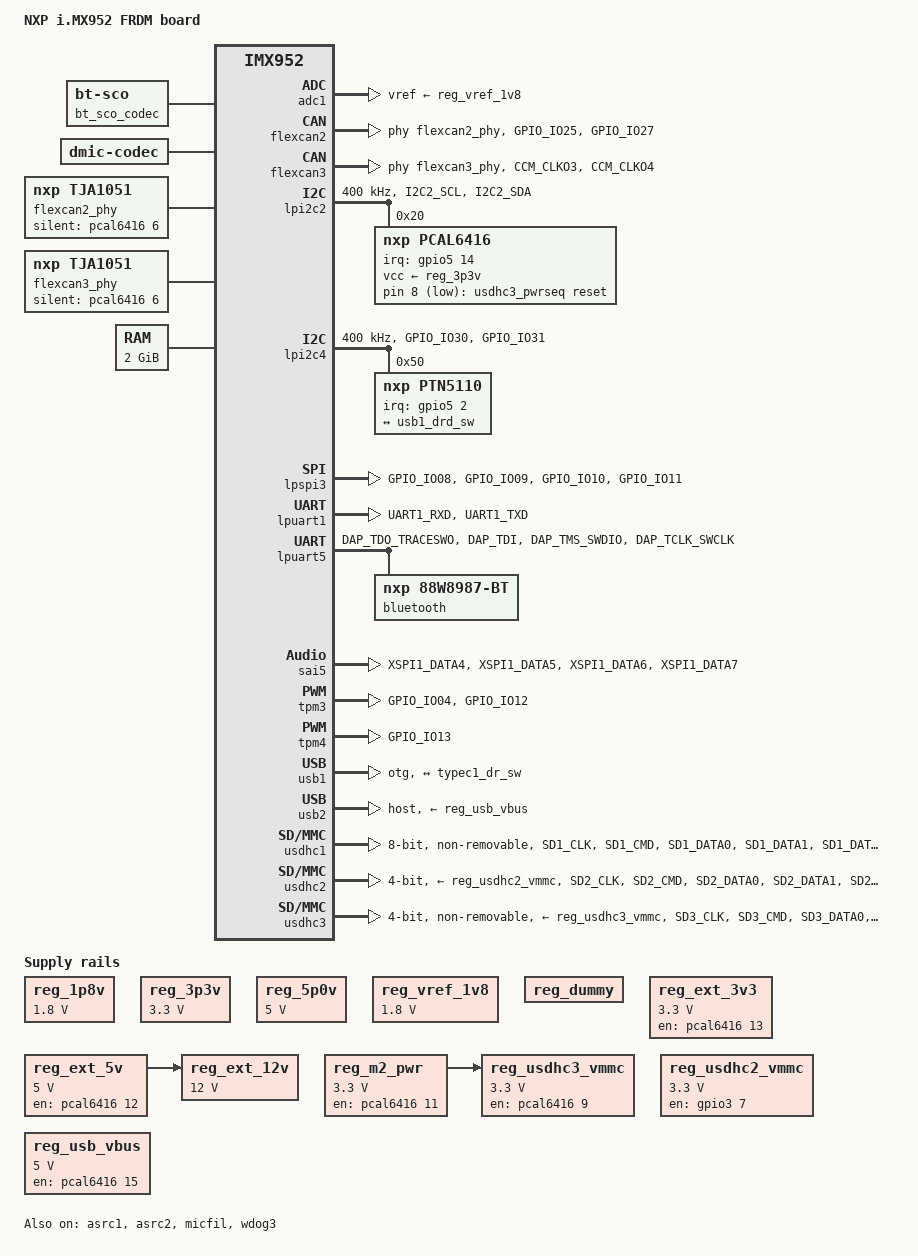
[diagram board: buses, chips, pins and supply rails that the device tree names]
// SPDX-License-Identifier: (GPL-2.0+ OR MIT)
/*
 * Copyright 2026 NXP
 */

#include <dt-bindings/usb/pd.h>

#define BRD_SM_CTRL_SD3_WAKE		0x8000U /*!< PCAL6408A-0 */
#define BRD_SM_CTRL_M2M_WAKE		0x8003U /*!< PCAL6408A-6 */
#define BRD_SM_CTRL_BUTTON		0x8004U /*!< PCAL6408A-7 */

/ {
	compatible = "fsl,imx952-frdm", "fsl,imx952";
	model = "NXP i.MX952 FRDM board";

	aliases {
		gpio0 = &gpio1;
		gpio1 = &gpio2;
		gpio2 = &gpio3;
		gpio3 = &gpio4;
		gpio4 = &gpio5;
		i2c0 = &lpi2c1;
		i2c1 = &lpi2c2;
		i2c2 = &lpi2c3;
		i2c3 = &lpi2c4;
		i2c4 = &lpi2c5;
		i2c5 = &lpi2c6;
		i2c6 = &lpi2c7;
		i2c7 = &lpi2c8;
		mmc0 = &usdhc1;
		mmc1 = &usdhc2;
		serial0 = &lpuart1;
		serial4 = &lpuart5;
		spi2 = &lpspi3;
	};

	bt_sco_codec: audio-codec-bt-sco {
		compatible = "linux,bt-sco";
		#sound-dai-cells = <1>;
	};

	chosen {
		stdout-path = &lpuart1;
	};

	dmic: dmic {
		compatible = "dmic-codec";
		#sound-dai-cells = <0>;
		num-channels = <2>;
	};

	flexcan2_phy: can-phy0 {
		compatible = "nxp,tja1051";
		#phy-cells = <0>;
		max-bitrate = <8000000>;
		silent-gpios = <&pcal6416 6 GPIO_ACTIVE_HIGH>;
	};

	flexcan3_phy: can-phy1 {
		compatible = "nxp,tja1051";
		#phy-cells = <0>;
		max-bitrate = <8000000>;
		silent-gpios = <&pcal6416 6 GPIO_ACTIVE_HIGH>;
	};

	reg_1p8v: regulator-1p8v {
		compatible = "regulator-fixed";
		regulator-name = "+V1.8_SW";
		regulator-max-microvolt = <1800000>;
		regulator-min-microvolt = <1800000>;
	};

	reg_3p3v: regulator-3p3v {
		compatible = "regulator-fixed";
		regulator-name = "+V3.3_SW";
		regulator-max-microvolt = <3300000>;
		regulator-min-microvolt = <3300000>;
	};

	reg_5p0v: regulator-5p0v {
		compatible = "regulator-fixed";
		regulator-name = "+V5.0_SW";
		regulator-max-microvolt = <5000000>;
		regulator-min-microvolt = <5000000>;
	};

	reg_vref_1v8: regulator-adc-vref {
		compatible = "regulator-fixed";
		regulator-name = "vref_1v8";
		regulator-max-microvolt = <1800000>;
		regulator-min-microvolt = <1800000>;
	};

	reg_dummy: regulator-dummy {
		compatible = "regulator-fixed";
		regulator-name = "dummy";
	};

	reg_ext_12v: regulator-ext-12v {
		compatible = "regulator-fixed";
		regulator-name = "VCCEXT_12V";
		regulator-max-microvolt = <12000000>;
		regulator-min-microvolt = <12000000>;
		vin-supply = <&reg_ext_5v>;
	};

	reg_ext_3v3: regulator-ext-3v3 {
		compatible = "regulator-fixed";
		regulator-name = "VCCEXT_3V3";
		regulator-max-microvolt = <3300000>;
		regulator-min-microvolt = <3300000>;
		gpio = <&pcal6416 13 GPIO_ACTIVE_HIGH>;
		enable-active-high;
		regulator-always-on;
	};

	reg_ext_5v: regulator-ext-5v {
		compatible = "regulator-fixed";
		regulator-name = "VCCEXT_5V";
		regulator-max-microvolt = <5000000>;
		regulator-min-microvolt = <5000000>;
		gpio = <&pcal6416 12 GPIO_ACTIVE_HIGH>;
		enable-active-high;
		regulator-always-on;
	};

	reg_m2_pwr: regulator-m2-pwr {
		compatible = "regulator-fixed";
		regulator-name = "M.2-power";
		regulator-max-microvolt = <3300000>;
		regulator-min-microvolt = <3300000>;
		gpio = <&pcal6416 11 GPIO_ACTIVE_HIGH>;
		enable-active-high;
	};

	reg_usdhc2_vmmc: regulator-usdhc2 {
		compatible = "regulator-fixed";
		regulator-name = "VDD_SD2_3V3";
		off-on-delay-us = <12000>;
		pinctrl-0 = <&pinctrl_reg_usdhc2_vmmc>;
		pinctrl-names = "default";
		regulator-max-microvolt = <3300000>;
		regulator-min-microvolt = <3300000>;
		gpio = <&gpio3 7 GPIO_ACTIVE_HIGH>;
		enable-active-high;
	};

	reg_usdhc3_vmmc: regulator-usdhc3 {
		compatible = "regulator-fixed";
		regulator-name = "WLAN_EN";
		regulator-max-microvolt = <3300000>;
		regulator-min-microvolt = <3300000>;
		vin-supply = <&reg_m2_pwr>;
		gpio = <&pcal6416 9 GPIO_ACTIVE_HIGH>;
		enable-active-high;
		/*
		 * IW612 wifi chip needs more delay than other wifi chips to complete
		 * the host interface initialization after power up, otherwise the
		 * internal state of IW612 may be unstable, resulting in the failure of
		 * the SDIO3.0 switch voltage.
		 */
		startup-delay-us = <20000>;
	};

	reg_usb_vbus: regulator-vbus {
		compatible = "regulator-fixed";
		regulator-name = "USB_VBUS";
		regulator-max-microvolt = <5000000>;
		regulator-min-microvolt = <5000000>;
		gpio = <&pcal6416 15 GPIO_ACTIVE_HIGH>;
		enable-active-high;
	};

	reserved-memory {
		ranges;
		#address-cells = <2>;
		#size-cells = <2>;

		linux_cma: linux,cma {
			compatible = "shared-dma-pool";
			alloc-ranges = <0 0x80000000 0 0x7f000000>;
			reusable;
			size = <0 0x3c000000>;
			linux,cma-default;
		};
	};

	sound-bt-sco {
		compatible = "simple-audio-card";
		simple-audio-card,bitclock-inversion;
		simple-audio-card,bitclock-master = <&btcpu>;
		simple-audio-card,format = "dsp_a";
		simple-audio-card,frame-master = <&btcpu>;
		simple-audio-card,name = "bt-sco-audio";

		simple-audio-card,codec {
			sound-dai = <&bt_sco_codec 1>;
		};

		btcpu: simple-audio-card,cpu {
			dai-tdm-slot-num = <2>;
			dai-tdm-slot-width = <16>;
			sound-dai = <&sai5>;
		};
	};

	sound-micfil {
		compatible = "fsl,imx-audio-card";
		model = "micfil-audio";

		pri-dai-link {
			format = "i2s";
			link-name = "micfil hifi";

			codec {
				sound-dai = <&dmic>;
			};

			cpu {
				sound-dai = <&micfil>;
			};
		};
	};

	usdhc3_pwrseq: usdhc3-pwrseq {
		compatible = "mmc-pwrseq-simple";
		reset-gpios = <&pcal6416 8 GPIO_ACTIVE_LOW>;
	};

	memory@80000000 {
		device_type = "memory";
		reg = <0x0 0x80000000 0 0x80000000>;
	};
};

&adc1 {
	vref-supply = <&reg_vref_1v8>;
	status = "okay";
};

&asrc1 {
	assigned-clocks = <&scmi_clk IMX952_CLK_AUDIOPLL1_VCO>,
			  <&scmi_clk IMX952_CLK_AUDIOPLL2_VCO>,
			  <&scmi_clk IMX952_CLK_AUDIOPLL1>,
			  <&scmi_clk IMX952_CLK_AUDIOPLL2>,
			  <&scmi_clk IMX952_CLK_ASRC1>;
	assigned-clock-parents = <0>, <0>, <0>, <0>,
				 <&scmi_clk IMX952_CLK_AUDIOPLL1>;
	assigned-clock-rates = <3932160000>, <3612672000>,
			       <393216000>, <361267200>, <49152000>;
	fsl,asrc-rate = <48000>;
	status = "okay";
};

&asrc2 {
	assigned-clocks = <&scmi_clk IMX952_CLK_AUDIOPLL1_VCO>,
			  <&scmi_clk IMX952_CLK_AUDIOPLL2_VCO>,
			  <&scmi_clk IMX952_CLK_AUDIOPLL1>,
			  <&scmi_clk IMX952_CLK_AUDIOPLL2>,
			  <&scmi_clk IMX952_CLK_ASRC2>;
	assigned-clock-parents = <0>, <0>, <0>, <0>,
				 <&scmi_clk IMX952_CLK_AUDIOPLL1>;
	assigned-clock-rates = <3932160000>, <3612672000>,
			       <393216000>, <361267200>, <49152000>;
	fsl,asrc-rate = <48000>;
	status = "okay";
};

&flexcan2 {
	pinctrl-names = "default";
	pinctrl-0 = <&pinctrl_flexcan2>;
	phys = <&flexcan2_phy>;
	status = "okay";
};

&flexcan3 {
	pinctrl-names = "default";
	pinctrl-0 = <&pinctrl_flexcan3>;
	phys = <&flexcan3_phy>;
	status = "okay";
};

&lpi2c2 {
	clock-frequency = <400000>;
	pinctrl-0 = <&pinctrl_lpi2c2>;
	pinctrl-names = "default";
	status = "okay";

	pcal6416: gpio@20 {
		compatible = "nxp,pcal6416";
		reg = <0x20>;
		#interrupt-cells = <2>;
		interrupt-controller;
		interrupt-parent = <&gpio5>;
		interrupts = <14 IRQ_TYPE_LEVEL_LOW>;
		#gpio-cells = <2>;
		gpio-controller;
		pinctrl-0 = <&pinctrl_pcal6416>;
		pinctrl-names = "default";
		vcc-supply = <&reg_3p3v>;

		/* When low, select CAN; When high, select gpio. */
		can-gpio-sel-hog {
			gpios = <4 GPIO_ACTIVE_HIGH>;
			gpio-hog;
			output-low;
		};
	};
};

&lpi2c4 {
	clock-frequency = <400000>;
	pinctrl-0 = <&pinctrl_lpi2c4>;
	pinctrl-names = "default";
	status = "okay";

	ptn5110: tcpc@50 {
		compatible = "nxp,ptn5110", "tcpci";
		reg = <0x50>;
		interrupt-parent = <&gpio5>;
		interrupts = <2 IRQ_TYPE_LEVEL_LOW>;
		pinctrl-0 = <&pinctrl_ptn5110>;
		pinctrl-names = "default";

		typec_con: connector {
			compatible = "usb-c-connector";
			data-role = "dual";
			label = "USB-C";
			op-sink-microwatt = <0>;
			power-role = "dual";
			self-powered;
			sink-pdos = <PDO_FIXED(5000, 0, PDO_FIXED_USB_COMM)>;
			source-pdos = <PDO_FIXED(5000, 3000, PDO_FIXED_USB_COMM)>;
			try-power-role = "sink";

			ports {
				#address-cells = <1>;
				#size-cells = <0>;

				port@0 {
					reg = <0>;

					typec1_dr_sw: endpoint {
						remote-endpoint = <&usb1_drd_sw>;
					};
				};
			};
		};
	};
};

&lpspi3 {
	cs-gpios = <&gpio2 8 GPIO_ACTIVE_LOW>;
	pinctrl-0 = <&pinctrl_lpspi3>;
	pinctrl-names = "default";
	status = "okay";
};

&lpuart1 {
	/* console */
	pinctrl-names = "default";
	pinctrl-0 = <&pinctrl_uart1>;
	status = "okay";
};

&lpuart5 {
	/* BT */
	pinctrl-names = "default";
	pinctrl-0 = <&pinctrl_uart5>;
	status = "okay";

	bluetooth {
		compatible = "nxp,88w8987-bt";
	};
};

&micfil {
	assigned-clocks = <&scmi_clk IMX952_CLK_AUDIOPLL1_VCO>,
			  <&scmi_clk IMX952_CLK_AUDIOPLL2_VCO>,
			  <&scmi_clk IMX952_CLK_AUDIOPLL1>,
			  <&scmi_clk IMX952_CLK_AUDIOPLL2>,
			  <&scmi_clk IMX952_CLK_PDM>;
	assigned-clock-parents = <0>, <0>, <0>, <0>,
				<&scmi_clk IMX952_CLK_AUDIOPLL1>;
	assigned-clock-rates = <3932160000>, <3612672000>,
			       <393216000>, <361267200>, <49152000>;
	pinctrl-0 = <&pinctrl_pdm>;
	pinctrl-1 = <&pinctrl_pdm_sleep>;
	pinctrl-names = "default", "sleep";
	status = "okay";
};

&sai5 {
	assigned-clocks = <&scmi_clk IMX952_CLK_AUDIOPLL1_VCO>,
			  <&scmi_clk IMX952_CLK_AUDIOPLL2_VCO>,
			  <&scmi_clk IMX952_CLK_AUDIOPLL1>,
			  <&scmi_clk IMX952_CLK_AUDIOPLL2>,
			  <&scmi_clk IMX952_CLK_SAI5>;
	assigned-clock-parents = <0>, <0>, <0>, <0>, <&scmi_clk IMX952_CLK_AUDIOPLL1>;
	assigned-clock-rates = <3932160000>, <3612672000>, <393216000>, <361267200>, <12288000>;
	#sound-dai-cells = <0>;
	pinctrl-0 = <&pinctrl_sai5>;
	pinctrl-names = "default";
	fsl,sai-mclk-direction-output;
	status = "okay";
};

&scmi_iomuxc {
	pinctrl_flexcan2: flexcan2grp {
		fsl,pins = <
			IMX952_PAD_GPIO_IO25__WAKEUPMIX_TOP_CAN2_TX		0x39e
			IMX952_PAD_GPIO_IO27__WAKEUPMIX_TOP_CAN2_RX		0x39e
		>;
	};

	pinctrl_flexcan3: flexcan3grp {
		fsl,pins = <
			IMX952_PAD_CCM_CLKO3__WAKEUPMIX_TOP_CAN3_TX		0x39e
			IMX952_PAD_CCM_CLKO4__WAKEUPMIX_TOP_CAN3_RX		0x39e
		>;
	};

	pinctrl_lpi2c2: lpi2c2grp {
		fsl,pins = <
			IMX952_PAD_I2C2_SCL__AONMIX_TOP_LPI2C2_SCL		0x40000b9e
			IMX952_PAD_I2C2_SDA__AONMIX_TOP_LPI2C2_SDA		0x40000b9e
		>;
	};

	pinctrl_lpi2c4: lpi2c4grp {
		fsl,pins = <
			IMX952_PAD_GPIO_IO30__WAKEUPMIX_TOP_LPI2C4_SDA		0x40000b9e
			IMX952_PAD_GPIO_IO31__WAKEUPMIX_TOP_LPI2C4_SCL		0x40000b9e
		>;
	};

	pinctrl_lpspi3: lpspi3grp {
		fsl,pins = <
			IMX952_PAD_GPIO_IO08__WAKEUPMIX_TOP_GPIO2_IO_8		0x39e
			IMX952_PAD_GPIO_IO09__WAKEUPMIX_TOP_LPSPI3_SIN		0x39e
			IMX952_PAD_GPIO_IO10__WAKEUPMIX_TOP_LPSPI3_SOUT		0x39e
			IMX952_PAD_GPIO_IO11__WAKEUPMIX_TOP_LPSPI3_SCK		0x39e
		>;
	};

	pinctrl_pcal6416: pcal6416grp {
		fsl,pins = <
			IMX952_PAD_GPIO_IO34__WAKEUPMIX_TOP_GPIO5_IO_14		0x31e
		>;
	};

	pinctrl_pdm: pdmgrp {
		fsl,pins = <
			IMX952_PAD_PDM_CLK__AONMIX_TOP_PDM_CLK				0x31e
			IMX952_PAD_PDM_BIT_STREAM0__AONMIX_TOP_PDM_BIT_STREAM_0		0x31e
		>;
	};

	pinctrl_pdm_sleep: pdmsleepgrp {
		fsl,pins = <
			IMX952_PAD_PDM_CLK__AONMIX_TOP_GPIO1_IO_8		0x31e
			IMX952_PAD_PDM_BIT_STREAM0__AONMIX_TOP_GPIO1_IO_9	0x31e
		>;
	};

	pinctrl_ptn5110: ptn5110grp {
		fsl,pins = <
			IMX952_PAD_XSPI1_DATA2__WAKEUPMIX_TOP_GPIO5_IO_2	0x31e
		>;
	};

	pinctrl_reg_usdhc2_vmmc: regusdhc2vmmcgrp {
		fsl,pins = <
			IMX952_PAD_SD2_RESET_B__WAKEUPMIX_TOP_GPIO3_IO_7	0x31e
		>;
	};

	pinctrl_sai5: sai5grp {
		fsl,pins = <
			IMX952_PAD_XSPI1_DATA4__WAKEUPMIX_TOP_SAI5_TX_DATA_0		0x31e
			IMX952_PAD_XSPI1_DATA5__WAKEUPMIX_TOP_SAI5_TX_SYNC		0x31e
			IMX952_PAD_XSPI1_DATA6__WAKEUPMIX_TOP_SAI5_TX_BCLK		0x31e
			IMX952_PAD_XSPI1_DATA7__WAKEUPMIX_TOP_SAI5_RX_DATA_0		0x31e
		>;
	};

	pinctrl_tpm3: tpm3grp {
		fsl,pins = <
			IMX952_PAD_GPIO_IO04__WAKEUPMIX_TOP_TPM3_CH0		0x51e
			IMX952_PAD_GPIO_IO12__WAKEUPMIX_TOP_TPM3_CH2		0x51e
		>;
	};

	pinctrl_tpm4: tpm4grp {
		fsl,pins = <
			IMX952_PAD_GPIO_IO13__WAKEUPMIX_TOP_TPM4_CH2		0x51e
		>;
	};

	pinctrl_uart1: uart1grp {
		fsl,pins = <
			IMX952_PAD_UART1_RXD__AONMIX_TOP_LPUART1_RX		0x31e
			IMX952_PAD_UART1_TXD__AONMIX_TOP_LPUART1_TX		0x31e
		>;
	};

	pinctrl_uart5: uart5grp {
		fsl,pins = <
			IMX952_PAD_DAP_TDO_TRACESWO__WAKEUPMIX_TOP_LPUART5_TX	0x31e
			IMX952_PAD_DAP_TDI__WAKEUPMIX_TOP_LPUART5_RX		0x31e
			IMX952_PAD_DAP_TMS_SWDIO__WAKEUPMIX_TOP_LPUART5_RTS_B	0x31e
			IMX952_PAD_DAP_TCLK_SWCLK__WAKEUPMIX_TOP_LPUART5_CTS_B	0x31e
		>;
	};

	pinctrl_usdhc1: usdhc1grp {
		fsl,pins = <
			IMX952_PAD_SD1_CLK__WAKEUPMIX_TOP_USDHC1_CLK		0x158e
			IMX952_PAD_SD1_CMD__WAKEUPMIX_TOP_USDHC1_CMD		0x138e
			IMX952_PAD_SD1_DATA0__WAKEUPMIX_TOP_USDHC1_DATA0	0x138e
			IMX952_PAD_SD1_DATA1__WAKEUPMIX_TOP_USDHC1_DATA1	0x138e
			IMX952_PAD_SD1_DATA2__WAKEUPMIX_TOP_USDHC1_DATA2	0x138e
			IMX952_PAD_SD1_DATA3__WAKEUPMIX_TOP_USDHC1_DATA3	0x138e
			IMX952_PAD_SD1_DATA4__WAKEUPMIX_TOP_USDHC1_DATA4	0x138e
			IMX952_PAD_SD1_DATA5__WAKEUPMIX_TOP_USDHC1_DATA5	0x138e
			IMX952_PAD_SD1_DATA6__WAKEUPMIX_TOP_USDHC1_DATA6	0x138e
			IMX952_PAD_SD1_DATA7__WAKEUPMIX_TOP_USDHC1_DATA7	0x138e
			IMX952_PAD_SD1_STROBE__WAKEUPMIX_TOP_USDHC1_STROBE	0x158e
		>;
	};

	pinctrl_usdhc1_100mhz: usdhc1-100mhzgrp {
		fsl,pins = <
			IMX952_PAD_SD1_CLK__WAKEUPMIX_TOP_USDHC1_CLK		0x158e
			IMX952_PAD_SD1_CMD__WAKEUPMIX_TOP_USDHC1_CMD		0x138e
			IMX952_PAD_SD1_DATA0__WAKEUPMIX_TOP_USDHC1_DATA0	0x138e
			IMX952_PAD_SD1_DATA1__WAKEUPMIX_TOP_USDHC1_DATA1	0x138e
			IMX952_PAD_SD1_DATA2__WAKEUPMIX_TOP_USDHC1_DATA2	0x138e
			IMX952_PAD_SD1_DATA3__WAKEUPMIX_TOP_USDHC1_DATA3	0x138e
			IMX952_PAD_SD1_DATA4__WAKEUPMIX_TOP_USDHC1_DATA4	0x138e
			IMX952_PAD_SD1_DATA5__WAKEUPMIX_TOP_USDHC1_DATA5	0x138e
			IMX952_PAD_SD1_DATA6__WAKEUPMIX_TOP_USDHC1_DATA6	0x138e
			IMX952_PAD_SD1_DATA7__WAKEUPMIX_TOP_USDHC1_DATA7	0x138e
			IMX952_PAD_SD1_STROBE__WAKEUPMIX_TOP_USDHC1_STROBE	0x158e
		>;
	};

	pinctrl_usdhc1_200mhz: usdhc1-200mhzgrp {
		fsl,pins = <
			IMX952_PAD_SD1_CLK__WAKEUPMIX_TOP_USDHC1_CLK		0x159e
			IMX952_PAD_SD1_CMD__WAKEUPMIX_TOP_USDHC1_CMD		0x139e
			IMX952_PAD_SD1_DATA0__WAKEUPMIX_TOP_USDHC1_DATA0	0x139e
			IMX952_PAD_SD1_DATA1__WAKEUPMIX_TOP_USDHC1_DATA1	0x139e
			IMX952_PAD_SD1_DATA2__WAKEUPMIX_TOP_USDHC1_DATA2	0x139e
			IMX952_PAD_SD1_DATA3__WAKEUPMIX_TOP_USDHC1_DATA3	0x139e
			IMX952_PAD_SD1_DATA4__WAKEUPMIX_TOP_USDHC1_DATA4	0x139e
			IMX952_PAD_SD1_DATA5__WAKEUPMIX_TOP_USDHC1_DATA5	0x139e
			IMX952_PAD_SD1_DATA6__WAKEUPMIX_TOP_USDHC1_DATA6	0x139e
			IMX952_PAD_SD1_DATA7__WAKEUPMIX_TOP_USDHC1_DATA7	0x139e
			IMX952_PAD_SD1_STROBE__WAKEUPMIX_TOP_USDHC1_STROBE	0x159e
		>;
	};

	pinctrl_usdhc2_gpio: usdhc2gpiogrp {
		fsl,pins = <
			IMX952_PAD_SD2_CD_B__WAKEUPMIX_TOP_GPIO3_IO_0		0x31e
		>;
	};

	pinctrl_usdhc2: usdhc2grp {
		fsl,pins = <
			IMX952_PAD_SD2_CLK__WAKEUPMIX_TOP_USDHC2_CLK		0x158e
			IMX952_PAD_SD2_CMD__WAKEUPMIX_TOP_USDHC2_CMD		0x138e
			IMX952_PAD_SD2_DATA0__WAKEUPMIX_TOP_USDHC2_DATA0	0x138e
			IMX952_PAD_SD2_DATA1__WAKEUPMIX_TOP_USDHC2_DATA1	0x138e
			IMX952_PAD_SD2_DATA2__WAKEUPMIX_TOP_USDHC2_DATA2	0x138e
			IMX952_PAD_SD2_DATA3__WAKEUPMIX_TOP_USDHC2_DATA3	0x138e
			IMX952_PAD_SD2_VSELECT__WAKEUPMIX_TOP_USDHC2_VSELECT	0x51e
		>;
	};

	pinctrl_usdhc2_100mhz: usdhc2-100mhzgrp {
		fsl,pins = <
			IMX952_PAD_SD2_CLK__WAKEUPMIX_TOP_USDHC2_CLK		0x158e
			IMX952_PAD_SD2_CMD__WAKEUPMIX_TOP_USDHC2_CMD		0x138e
			IMX952_PAD_SD2_DATA0__WAKEUPMIX_TOP_USDHC2_DATA0	0x138e
			IMX952_PAD_SD2_DATA1__WAKEUPMIX_TOP_USDHC2_DATA1	0x138e
			IMX952_PAD_SD2_DATA2__WAKEUPMIX_TOP_USDHC2_DATA2	0x138e
			IMX952_PAD_SD2_DATA3__WAKEUPMIX_TOP_USDHC2_DATA3	0x138e
			IMX952_PAD_SD2_VSELECT__WAKEUPMIX_TOP_USDHC2_VSELECT	0x51e
		>;
	};

	pinctrl_usdhc2_200mhz: usdhc2-200mhzgrp {
		fsl,pins = <
			IMX952_PAD_SD2_CLK__WAKEUPMIX_TOP_USDHC2_CLK		0x158e
			IMX952_PAD_SD2_CMD__WAKEUPMIX_TOP_USDHC2_CMD		0x138e
			IMX952_PAD_SD2_DATA0__WAKEUPMIX_TOP_USDHC2_DATA0	0x138e
			IMX952_PAD_SD2_DATA1__WAKEUPMIX_TOP_USDHC2_DATA1	0x138e
			IMX952_PAD_SD2_DATA2__WAKEUPMIX_TOP_USDHC2_DATA2	0x138e
			IMX952_PAD_SD2_DATA3__WAKEUPMIX_TOP_USDHC2_DATA3	0x138e
			IMX952_PAD_SD2_VSELECT__WAKEUPMIX_TOP_USDHC2_VSELECT	0x51e
		>;
	};

	pinctrl_usdhc3: usdhc3grp {
		fsl,pins = <
			IMX952_PAD_SD3_CLK__WAKEUPMIX_TOP_USDHC3_CLK			0x158e
			IMX952_PAD_SD3_CMD__WAKEUPMIX_TOP_USDHC3_CMD			0x138e
			IMX952_PAD_SD3_DATA0__WAKEUPMIX_TOP_USDHC3_DATA0		0x138e
			IMX952_PAD_SD3_DATA1__WAKEUPMIX_TOP_USDHC3_DATA1		0x138e
			IMX952_PAD_SD3_DATA2__WAKEUPMIX_TOP_USDHC3_DATA2		0x138e
			IMX952_PAD_SD3_DATA3__WAKEUPMIX_TOP_USDHC3_DATA3		0x138e
		>;
	};

	pinctrl_usdhc3_100mhz: usdhc3-100mhzgrp {
		fsl,pins = <
			IMX952_PAD_SD3_CLK__WAKEUPMIX_TOP_USDHC3_CLK			0x158e
			IMX952_PAD_SD3_CMD__WAKEUPMIX_TOP_USDHC3_CMD			0x138e
			IMX952_PAD_SD3_DATA0__WAKEUPMIX_TOP_USDHC3_DATA0		0x138e
			IMX952_PAD_SD3_DATA1__WAKEUPMIX_TOP_USDHC3_DATA1		0x138e
			IMX952_PAD_SD3_DATA2__WAKEUPMIX_TOP_USDHC3_DATA2		0x138e
			IMX952_PAD_SD3_DATA3__WAKEUPMIX_TOP_USDHC3_DATA3		0x138e
		>;
	};

	pinctrl_usdhc3_200mhz: usdhc3-200mhzgrp {
		fsl,pins = <
			IMX952_PAD_SD3_CLK__WAKEUPMIX_TOP_USDHC3_CLK			0x158e
			IMX952_PAD_SD3_CMD__WAKEUPMIX_TOP_USDHC3_CMD			0x138e
			IMX952_PAD_SD3_DATA0__WAKEUPMIX_TOP_USDHC3_DATA0		0x138e
			IMX952_PAD_SD3_DATA1__WAKEUPMIX_TOP_USDHC3_DATA1		0x138e
			IMX952_PAD_SD3_DATA2__WAKEUPMIX_TOP_USDHC3_DATA2		0x138e
			IMX952_PAD_SD3_DATA3__WAKEUPMIX_TOP_USDHC3_DATA3		0x138e
		>;
	};
};

&scmi_misc {
	nxp,ctrl-ids = <BRD_SM_CTRL_SD3_WAKE		1
			BRD_SM_CTRL_M2M_WAKE		1
			BRD_SM_CTRL_BUTTON		1>;
};

&tpm3 {
	pinctrl-0 = <&pinctrl_tpm3>;
	pinctrl-names = "default";
	status = "okay";
};

&tpm4 {
	pinctrl-0 = <&pinctrl_tpm4>;
	pinctrl-names = "default";
	status = "okay";
};

&usb1 {
	adp-disable;
	disable-over-current;
	dr_mode = "otg";
	hnp-disable;
	srp-disable;
	usb-role-switch;
	samsung,picophy-dc-vol-level-adjust = <7>;
	samsung,picophy-pre-emp-curr-control = <3>;
	status = "okay";

	port {
		usb1_drd_sw: endpoint {
			remote-endpoint = <&typec1_dr_sw>;
		};
	};
};

&usb2 {
	disable-over-current;
	dr_mode = "host";
	vbus-supply = <&reg_usb_vbus>;
	status = "okay";
};

&usdhc1 {
	bus-width = <8>;
	non-removable;
	no-sd;
	no-sdio;
	pinctrl-0 = <&pinctrl_usdhc1>;
	pinctrl-1 = <&pinctrl_usdhc1_100mhz>;
	pinctrl-2 = <&pinctrl_usdhc1_200mhz>;
	pinctrl-3 = <&pinctrl_usdhc1>;
	pinctrl-names = "default", "state_100mhz", "state_200mhz", "sleep";
	status = "okay";
};

&usdhc2 {
	bus-width = <4>;
	cd-gpios = <&gpio3 0 GPIO_ACTIVE_LOW>;
	pinctrl-0 = <&pinctrl_usdhc2>, <&pinctrl_usdhc2_gpio>;
	pinctrl-1 = <&pinctrl_usdhc2_100mhz>, <&pinctrl_usdhc2_gpio>;
	pinctrl-2 = <&pinctrl_usdhc2_200mhz>, <&pinctrl_usdhc2_gpio>;
	pinctrl-3 = <&pinctrl_usdhc2>, <&pinctrl_usdhc2_gpio>;
	pinctrl-names = "default", "state_100mhz", "state_200mhz", "sleep";
	vmmc-supply = <&reg_usdhc2_vmmc>;
	status = "okay";
};

&usdhc3 {
	bus-width = <4>;
	keep-power-in-suspend;
	mmc-pwrseq = <&usdhc3_pwrseq>;
	non-removable;
	pinctrl-0 = <&pinctrl_usdhc3>;
	pinctrl-1 = <&pinctrl_usdhc3_100mhz>;
	pinctrl-2 = <&pinctrl_usdhc3_200mhz>;
	pinctrl-3 = <&pinctrl_usdhc3>;
	pinctrl-names = "default", "state_100mhz", "state_200mhz", "sleep";
	vmmc-supply = <&reg_usdhc3_vmmc>;
	wakeup-source;
	status = "okay";
};

&wdog3 {
	fsl,ext-reset-output;
	status = "okay";
};
